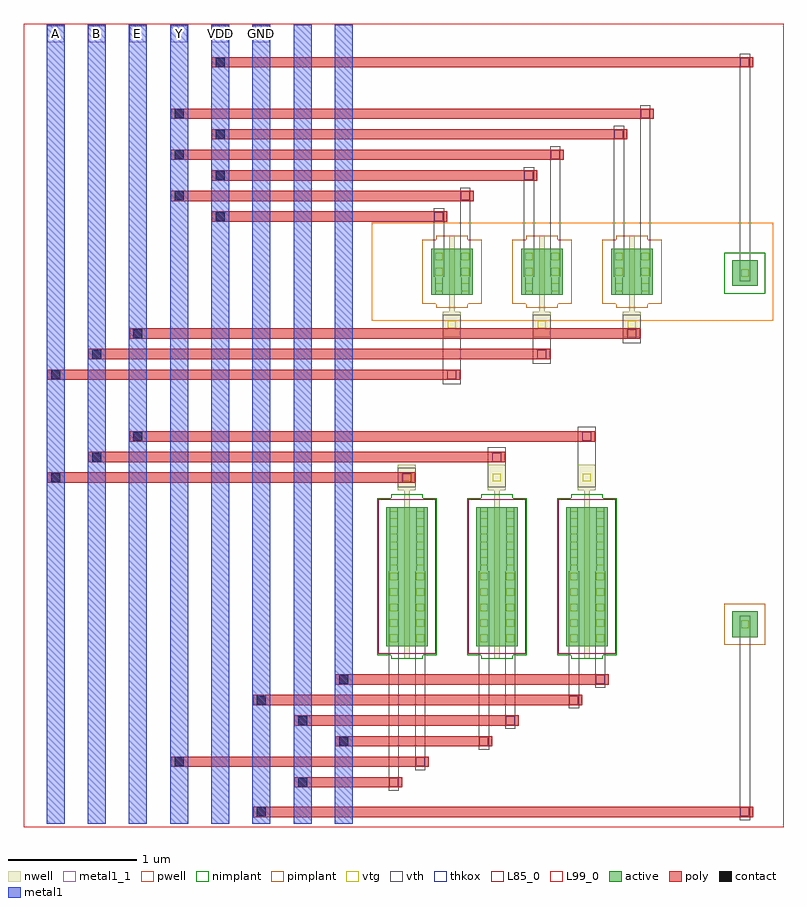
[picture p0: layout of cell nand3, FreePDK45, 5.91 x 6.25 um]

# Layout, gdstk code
import gdstk
lib = gdstk.Library(unit=1e-6, precision=5e-10)
def R(c, l, rs):  # rectangles x0, y0, x1, y1
    for r in rs: c.add(gdstk.rectangle(r[:2], r[2:], *l))
def A(c, l, x, y, w, h, nx, ny, dx, dy):  # array of equal rectangles
    R(c, l, [(x+i*dx, y+j*dy, x+i*dx+w, y+j*dy+h) for i in range(nx) for j in range(ny)])
active = (1, 0)
pwell = (2, 0)
nwell = (3, 0)
nimplant = (4, 0)
pimplant = (5, 0)
vtg = (6, 0)
vth = (7, 0)
thkox = (8, 0)
poly = (9, 0)
contact = (10, 0)
metal1 = (11, 0)
metal1_1 = (11, 1)
L85_0 = (85, 0)
L99_0 = (99, 0)

nmos1v_cdns_794040155650 = lib.new_cell('nmos1v_CDNS_794040155650')
R(nmos1v_cdns_794040155650, active, [(-0.14,0,0,1.08), (0,0,0.045,1.08), (0.045,0,0.185,1.08)])
R(nmos1v_cdns_794040155650, nwell, [(0,-0.1,0.045,-0.05), (0,-0.05,0.045,0), (0,0,0.045,1.08), (0,1.08,0.045,1.13), (0,1.13,0.045,1.18)])
R(nmos1v_cdns_794040155650, nimplant, [(-0.1,-0.1,0.145,1.18), (-0.21,-0.07,0.255,1.15)])
A(nmos1v_cdns_794040155650, vtg, -0.11, 0.03, 0.06, 0.06, 1, 9, 0, 0.12)
A(nmos1v_cdns_794040155650, vtg, 0.095, 0.03, 0.06, 0.06, 1, 9, 0, 0.12)
R(nmos1v_cdns_794040155650, vth, [(-0.11,0,-0.05,1.08), (0.095,0,0.155,1.08)])
R(nmos1v_cdns_794040155650, L85_0, [(-0.2,-0.06,0.245,1.14)])

pmos1v_cdns_794040155651 = lib.new_cell('pmos1v_CDNS_794040155651')
R(pmos1v_cdns_794040155651, active, [(-0.14,0,0,0.36), (0,0,0.045,0.36), (0.045,0,0.185,0.36)])
R(pmos1v_cdns_794040155651, pwell, [(-0.2,-0.06,0.245,0.42)])
R(pmos1v_cdns_794040155651, nwell, [(0,-0.1,0.045,-0.05), (0,-0.05,0.045,0), (0,0,0.045,0.36), (0,0.36,0.045,0.41), (0,0.41,0.045,0.46)])
R(pmos1v_cdns_794040155651, pimplant, [(-0.1,-0.1,0.145,0.46), (-0.21,-0.07,0.255,0.43)])
A(pmos1v_cdns_794040155651, vtg, -0.11, 0.03, 0.06, 0.06, 1, 3, 0, 0.12)
A(pmos1v_cdns_794040155651, vtg, 0.095, 0.03, 0.06, 0.06, 1, 3, 0, 0.12)
R(pmos1v_cdns_794040155651, vth, [(-0.11,0,-0.05,0.36), (0.095,0,0.155,0.36)])

nand3 = lib.new_cell('nand3')
R(nand3, active, [(5.51,1.48,5.71,1.68), (5.51,4.21,5.71,4.41)])
R(nand3, pwell, [(2.71,3.94,5.83,4.7)])
A(nand3, nwell, 2.96, 2.54, 0.045, 0.28, 3, 1, 0.7, 0)
A(nand3, nwell, 2.91, 2.62, 0.14, 0.2, 3, 1, 0.7, 0)
A(nand3, nwell, 3.26, 3.81, 0.14, 0.2, 3, 1, 0.7, 0)
A(nand3, nwell, 3.31, 3.81, 0.045, 0.28, 3, 1, 0.7, 0)
R(nand3, nimplant, [(5.45,4.15,5.77,4.47)])
R(nand3, pimplant, [(5.45,1.42,5.77,1.74)])
A(nand3, vtg, 2.95, 2.69, 0.06, 0.06, 3, 1, 0.7, 0)
A(nand3, vtg, 3.3, 3.88, 0.06, 0.06, 3, 1, 0.7, 0)
R(nand3, vtg, [(5.58,1.55,5.64,1.61), (5.58,4.28,5.64,4.34)])
A(nand3, vth, 2.91, 2.645, 0.14, 0.15, 3, 1, 0.7, 0)
A(nand3, vth, 3.26, 3.835, 0.14, 0.15, 3, 1, 0.7, 0)
R(nand3, vth, [(5.57,0.055,5.65,0.185), (5.57,0.08,5.65,1.62), (2.84,0.285,2.92,0.415), (2.84,0.31,2.92,1.99), (3.045,0.445,3.125,0.575), (3.045,0.47,3.125,1.99), (3.54,0.605,3.62,0.735), (3.54,0.63,3.62,1.99), (3.745,0.765,3.825,0.895), (3.745,0.79,3.825,1.99), (4.24,0.925,4.32,1.055), (4.24,0.95,4.32,1.99), (4.445,1.085,4.525,1.215), (4.445,1.11,4.525,1.99), (5.57,1.515,5.65,1.645), (2.91,2.645,3.05,2.795), (2.91,2.65,3.05,2.79), (3.61,2.65,3.75,2.95), (4.31,2.65,4.45,3.11), (3.61,2.805,3.75,2.955), (4.31,2.965,4.45,3.115), (3.26,3.445,3.4,3.595), (3.26,3.45,3.4,3.98), (3.96,3.605,4.1,3.755), (3.96,3.61,4.1,3.98), (4.66,3.765,4.8,3.915), (4.66,3.77,4.8,3.98), (5.57,4.245,5.65,4.375), (5.57,4.27,5.65,5.99), (3.19,4.28,3.27,4.79), (3.395,4.28,3.475,4.95), (3.89,4.28,3.97,5.11), (4.095,4.28,4.175,5.27), (4.59,4.28,4.67,5.43), (4.795,4.28,4.875,5.59), (3.19,4.685,3.27,4.815), (3.395,4.845,3.475,4.975), (3.89,5.005,3.97,5.135), (4.095,5.165,4.175,5.295), (4.59,5.325,4.67,5.455), (4.795,5.485,4.875,5.615), (5.57,5.885,5.65,6.015)])
R(nand3, thkox, [(5.575,0.085,5.645,0.155), (2.845,0.315,2.915,0.385), (3.05,0.475,3.12,0.545), (3.545,0.635,3.615,0.705), (3.75,0.795,3.82,0.865), (4.245,0.955,4.315,1.025), (4.45,1.115,4.52,1.185), (2.945,2.685,3.015,2.755), (3.645,2.845,3.715,2.915), (4.345,3.005,4.415,3.075), (3.295,3.485,3.365,3.555), (3.995,3.645,4.065,3.715), (4.695,3.805,4.765,3.875), (3.195,4.715,3.265,4.785), (3.4,4.875,3.47,4.945), (3.895,5.035,3.965,5.105), (4.1,5.195,4.17,5.265), (4.595,5.355,4.665,5.425), (4.8,5.515,4.87,5.585), (5.575,5.915,5.645,5.985)])
A(nand3, poly, 1.465, 4.71, 0.13, 0.08, 1, 3, 0, 0.32)
A(nand3, poly, 1.145, 4.87, 0.13, 0.08, 1, 3, 0, 0.32)
R(nand3, poly, [(1.785,0.08,1.915,0.16), (1.81,0.08,5.65,0.16), (5.545,0.08,5.675,0.16), (2.105,0.31,2.235,0.39), (2.13,0.31,2.92,0.39), (2.815,0.31,2.945,0.39), (1.145,0.47,1.275,0.55), (1.17,0.47,3.125,0.55), (3.02,0.47,3.15,0.55), (2.425,0.63,2.555,0.71), (2.45,0.63,3.62,0.71), (3.515,0.63,3.645,0.71), (2.105,0.79,2.235,0.87), (2.13,0.79,3.825,0.87), (3.72,0.79,3.85,0.87), (1.785,0.95,1.915,1.03), (1.81,0.95,4.32,1.03), (4.215,0.95,4.345,1.03), (2.425,1.11,2.555,1.19), (2.45,1.11,4.525,1.19), (4.42,1.11,4.55,1.19), (0.185,2.68,0.315,2.76), (0.21,2.68,3.02,2.76), (2.915,2.68,3.045,2.76), (0.505,2.84,0.635,2.92), (0.53,2.84,3.72,2.92), (3.615,2.84,3.745,2.92), (0.825,3,0.955,3.08), (0.85,3,4.42,3.08), (4.315,3,4.445,3.08), (0.185,3.48,0.315,3.56), (0.21,3.48,3.37,3.56), (3.265,3.48,3.395,3.56), (0.505,3.64,0.635,3.72), (0.53,3.64,4.07,3.72), (3.965,3.64,4.095,3.72), (0.825,3.8,0.955,3.88), (0.85,3.8,4.77,3.88), (4.665,3.8,4.795,3.88), (1.49,4.71,3.27,4.79), (3.165,4.71,3.295,4.79), (1.17,4.87,3.475,4.95), (3.37,4.87,3.5,4.95), (1.49,5.03,3.97,5.11), (3.865,5.03,3.995,5.11), (1.17,5.19,4.175,5.27), (4.07,5.19,4.2,5.27), (1.49,5.35,4.67,5.43), (4.565,5.35,4.695,5.43), (1.17,5.51,4.875,5.59), (4.77,5.51,4.9,5.59), (1.465,5.91,1.595,5.99), (1.49,5.91,5.65,5.99), (5.545,5.91,5.675,5.99)])
A(nand3, contact, 1.495, 4.715, 0.07, 0.07, 1, 3, 0, 0.32)
A(nand3, contact, 1.175, 4.875, 0.07, 0.07, 1, 3, 0, 0.32)
R(nand3, contact, [(1.815,0.085,1.885,0.155), (2.135,0.315,2.205,0.385), (1.175,0.475,1.245,0.545), (2.455,0.635,2.525,0.705), (2.135,0.795,2.205,0.865), (1.815,0.955,1.885,1.025), (2.455,1.115,2.525,1.185), (0.215,2.685,0.285,2.755), (0.535,2.845,0.605,2.915), (0.855,3.005,0.925,3.075), (0.215,3.485,0.285,3.555), (0.535,3.645,0.605,3.715), (0.855,3.805,0.925,3.875), (1.495,5.915,1.565,5.985)])
A(nand3, metal1, 0.18, 0.03, 0.14, 6.21, 8, 1, 0.32, 0)
A(nand3, metal1, 1.49, 4.685, 0.08, 0.13, 1, 3, 0, 0.32)
A(nand3, metal1, 1.17, 4.845, 0.08, 0.13, 1, 3, 0, 0.32)
R(nand3, metal1, [(1.81,0.055,1.89,0.185), (2.13,0.285,2.21,0.415), (1.17,0.445,1.25,0.575), (2.45,0.605,2.53,0.735), (2.13,0.765,2.21,0.895), (1.81,0.925,1.89,1.055), (2.45,1.085,2.53,1.215), (0.21,2.655,0.29,2.785), (0.53,2.815,0.61,2.945), (0.85,2.975,0.93,3.105), (0.21,3.455,0.29,3.585), (0.53,3.615,0.61,3.745), (0.85,3.775,0.93,3.905), (1.49,5.885,1.57,6.015)])
A(nand3, metal1_1, 0.185, 6.105, 0.13, 0.13, 6, 1, 0.32, 0)
R(nand3, L99_0, [(0,0,5.91,6.25)])
nand3.add(gdstk.Reference(nmos1v_cdns_794040155650, (4.36,1.41)))
nand3.add(gdstk.Reference(nmos1v_cdns_794040155650, (3.66,1.41)))
nand3.add(gdstk.Reference(nmos1v_cdns_794040155650, (2.96,1.41)))
nand3.add(gdstk.Reference(pmos1v_cdns_794040155651, (4.71,4.14)))
nand3.add(gdstk.Reference(pmos1v_cdns_794040155651, (4.01,4.14)))
nand3.add(gdstk.Reference(pmos1v_cdns_794040155651, (3.31,4.14)))
nand3.add(gdstk.Label('GND', (1.85,6.17), layer=11, texttype=3))
nand3.add(gdstk.Label('VDD', (1.53,6.17), layer=11, texttype=3))
nand3.add(gdstk.Label('Y', (1.21,6.17), layer=11, texttype=3))
nand3.add(gdstk.Label('E', (0.89,6.17), layer=11, texttype=3))
nand3.add(gdstk.Label('B', (0.57,6.17), layer=11, texttype=3))
nand3.add(gdstk.Label('A', (0.25,6.17), layer=11, texttype=3))

lib.write_gds('nand3.gds')
